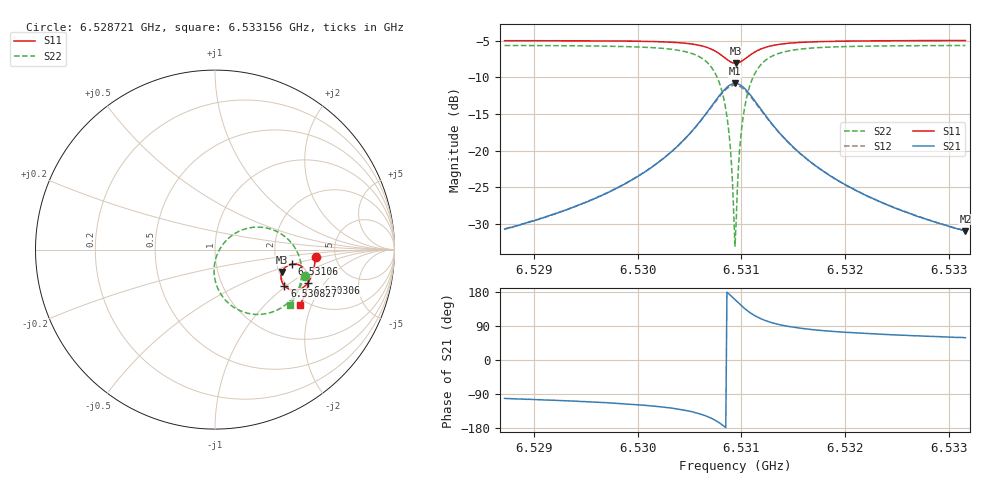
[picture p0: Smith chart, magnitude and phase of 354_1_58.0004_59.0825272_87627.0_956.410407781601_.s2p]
#  HZ  S  RI  R  50.00
! Rohde & Schwarz Vector Network Analyzer
! Rohde-Schwarz,ZNB20-2Port,1311601062101988,3.16
! Created: UTC 3/21/2024, 1:06:08 AM
! freq[Hz]  re:S11  im:S11  re:S21  im:S21  re:S12  im:S12  re:S22  im:S22
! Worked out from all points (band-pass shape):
!   401 points, 6.528721 GHz to 6.533156 GHz, reference 50 ohm
!   highest |S21| = -10.84 dB at 6.530938 GHz (marker M1); lowest = -31.0 dB at 6.533156 GHz (marker M2)
!   |S21| within 3 dB of the highest: 6.530718 GHz to 6.53116 GHz (442.6 kHz wide, 0.00678 % of centre)
!   lowest |S11| = -8.1 dB at 6.530949 GHz (marker M3), VSWR 2.30, Z = 103 - j30.6 ohm
!   |S11| at or under -10 dB: nowhere
!   |S22| runs from -33.0 to -5.7 dB; largest |S21 - S12| = 0.011
!   S11 on the Smith chart (normalised r, x): 6.528721 GHz: 3.50, -0.43; 6.530306 GHz: 2.60, -1.39; 6.530827 GHz: 1.94, -0.97; 6.53106 GHz: 2.43, -0.49; 6.533156 GHz: 1.82, -1.65
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6.5287206e9  0.5599 -0.0421  -0.00567 -0.0285  -0.00632 -0.0286  0.5003 -0.1453
6.5294635e9  0.551 -0.1029  -0.0145 -0.0407  -0.0154 -0.0406  0.4718 -0.2126
6.5302065e9  0.5244 -0.1744  -0.0456 -0.0701  -0.0476 -0.0689  0.3959 -0.3058
6.5303063e9  0.5166 -0.186  -0.0563 -0.0769  -0.0585 -0.0754  0.373 -0.3219
6.5305059e9  0.4918 -0.2105  -0.0934 -0.092  -0.096 -0.089  0.2994 -0.3537
6.5306611e9  0.4543 -0.2257  -0.1519 -0.0951  -0.1539 -0.0894  0.1914 -0.3566
6.5307609e9  0.4157 -0.2215  -0.2117 -0.0722  -0.2115 -0.0635  0.0887 -0.3099
6.5308274e9  0.3868 -0.2018  -0.2545 -0.0284  -0.2506 -0.0192  0.022 -0.2295
6.5308607e9  0.3753 -0.1849  -0.2703 0.00528  -0.2641 0.0137  0.000635 -0.1707
6.5308829e9  0.3702 -0.1711  -0.2762 0.0314  -0.2687 0.0388  -0.00512 -0.1265
6.5309162e9  0.3677 -0.1481  -0.2755 0.0737  -0.2665 0.0792  0.00257 -0.0564
6.5309272e9  0.3688 -0.1403  -0.2725 0.0881  -0.2631 0.0926  0.00984 -0.0334
6.5309383e9  0.3707 -0.1326  -0.2682 0.1021  -0.2585 0.1057  0.0193 -0.0111
6.5309494e9  0.3732 -0.1251  -0.2623 0.1156  -0.2527 0.1183  0.031 0.01
6.5309938e9  0.3909 -0.0997  -0.2275 0.1609  -0.2189 0.1605  0.0952 0.0792
6.531027e9  0.4088 -0.0873  -0.1943 0.1831  -0.1871 0.1811  0.1536 0.1104
6.5310603e9  0.4279 -0.0812  -0.1601 0.1945  -0.1545 0.1921  0.2124 0.1243
6.5311379e9  0.4664 -0.0846  -0.0925 0.1928  -0.0896 0.1904  0.3261 0.109
6.5312488e9  0.4986 -0.1071  -0.0355 0.1632  -0.0342 0.162  0.419 0.0451
6.5316813e9  0.52 -0.1828  0.0139 0.0808  0.0149 0.0805  0.483 -0.1305
6.5324242e9  0.4996 -0.2555  0.0164 0.0387  0.0172 0.0385  0.4553 -0.2459
6.5331561e9  0.4713 -0.3089  0.0147 0.0242  0.015 0.024  0.4199 -0.308
